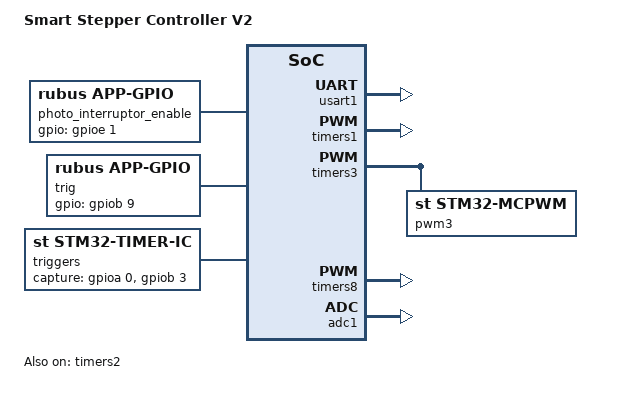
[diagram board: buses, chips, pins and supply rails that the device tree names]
/*
 * Copyright (c) 2021 Nordic Semiconductor ASA
 * SPDX-License-Identifier: Apache-2.0
 */

#include <zephyr/dt-bindings/dma/stm32_dma.h>
#include <dt-bindings/current-sense.h>

/ {
	voltage_sense: voltage_sense {
		compatible = "rubus,voltage-sense";
		channel = <0>;
		adc-buffer-index = <2>;
		vref-mv = <3000>;
		output-ohms = <10000>;
		full-ohms = <(191000 + 10000)>;
	};

	current_sense: current_sense {
		compatible = "rubus,current-sense";
		channels = <1 CURRENT_SENSE_POSITIVE>, <2 CURRENT_SENSE_POSITIVE>;
		adc-buffer-indices = <0 1>;
		current-sense-resistor-uohms = <10000>;
		current-sense-gain = <50>;
		vref-mv = <3000>;
	};

	angle_observer: angle_observer {
		compatible = "rubus,angle-observer";
		/* Observer bandwidth in Hz (position tracking) */
		bandwidth-hz = <200>;
	};
};

/ {
	model = "Smart Stepper Controller V2";
	compatible = "rubus,smartstepper_v2";

	chosen {
		zephyr,console = &usart1;
		zephyr,shell-uart = &usart1;
	};

	photo_interruptor_enable {
		compatible = "rubus,app-gpio";
		gpios = <&gpioe 1 GPIO_ACTIVE_HIGH>;
		status = "okay";
	};

	trig {
		compatible = "rubus,app-gpio";
		gpios = <&gpiob 9 GPIO_ACTIVE_HIGH>;
		status = "okay";
	};
};

// / {
// 	fstab {
// 		compatible = "zephyr,fstab";
// 		lfs1: lfs1 {
// 			compatible = "zephyr,fstab,littlefs";
// 			read-size = <32>;
// 			prog-size = <32>;
// 			cache-size = <256>;
// 			lookahead-size = <64>;
// 			block-cycles = <512>;
// 			partition = <&filesystem>;
// 			mount-point = "/lfs1";
// 		};
// 	};
// };

&usart1 {
	status = "okay";
};

// Timer 2 is used for input capture of clock generator and photo-interrupter
&timers2 {
	compatible = "rubus,stm32-timers";
	st,prescaler = <0>;
	status = "okay";
	st,master-mode;
	st,countermode = <STM32_TIM_COUNTERMODE_UP>;

	triggers: triggers {
		compatible = "st,stm32-timer-ic";
		pinctrl-0 = <&tim2_ch1_pa0 &tim2_ch2_pb3>;
		pinctrl-names = "default";
		capture-gpios = <&gpioa 0 GPIO_ACTIVE_HIGH>, <&gpiob 3 GPIO_ACTIVE_HIGH>;
		status = "okay";
	};
};

// TIM1 is master for TIM3 and TIM8 synchronization
&timers1 {
	compatible = "rubus,stm32-timers";
	st,prescaler = <0>;
	status = "okay";
	st,countermode = <STM32_TIM_COUNTERMODE_CENTER_UP_DOWN>;
	st,master-mode;
	st,master-mode-selection = <0x10>; // LL_TIM_TRGO_ENABLE - sync TIM3 and TIM8

	pwm1:mcpwm {
		period = <PWM_KHZ(20)>;
		status = "okay";
		#pwm-cells = <2>;
	};
};

// TIM3 is slave of TIM1
&timers3 {
	compatible = "rubus,stm32-timers";
	st,prescaler = <0>;
	status = "okay";
	st,countermode = <STM32_TIM_COUNTERMODE_UP>;
	st,slave-mode;
	st,slave-mode-selection = <0x6>; // LL_TIM_SLAVEMODE_TRIGGER
	st,trigger-selection = <0x00>; // ITR0 = TIM1

	pwm3:mcpwm {
		compatible = "st,stm32-mcpwm";
		period = <PWM_KHZ(20)>;
		status = "okay";
		#pwm-cells = <2>;
	};
};

// TIM8 is slave of TIM1
&timers8 {
	compatible = "rubus,stm32-timers";
	st,prescaler = <0>;
	status = "okay";
	st,countermode = <STM32_TIM_COUNTERMODE_CENTER_UP_DOWN>;
	st,slave-mode;
	st,slave-mode-selection = <0x6>; // LL_TIM_SLAVEMODE_TRIGGER
	st,trigger-selection = <0x00>; // ITR0 = TIM1

	pwm8:mcpwm {
		period = <PWM_KHZ(20)>;
		status = "okay";
		#pwm-cells = <2>;
	};
};

&adc1 {
	compatible = "st,stm32-adc-injected";
	status = "okay";
	resolution = <16>;
	st,adc-trigger-source = "TIM1_CH4";
	st,adc-trigger-edge = "rising";
};
